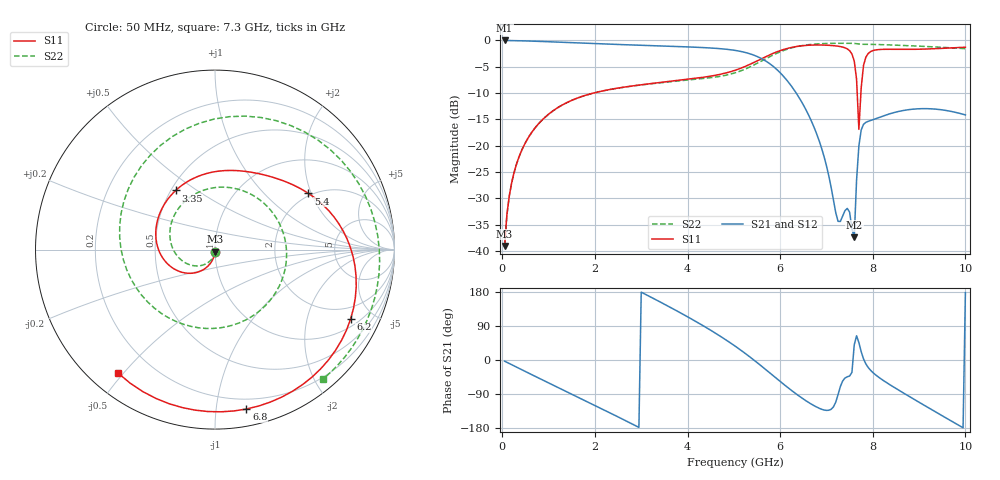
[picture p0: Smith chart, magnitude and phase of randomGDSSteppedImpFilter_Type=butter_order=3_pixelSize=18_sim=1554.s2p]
! freq	dB(S11)	phase(S11)	dB(S12)	phase(S12)
!  dB(S21)	phase(S21)	dB(S22)	phase(S22)
!S-par simulation data
#  GHz  S  DB  R 50
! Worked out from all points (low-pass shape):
!   200 points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, 50 MHz to 10 GHz, reference 50 ohm
!   highest |S21| = -0.01 dB at 50 MHz (marker M1); lowest = -37.4 dB at 7.6 GHz (marker M2)
!   |S21| within 3 dB of the highest: start of sweep to 5.491 GHz
!   lowest |S11| = -39.1 dB at 50 MHz (marker M3), VSWR 1.02, Z = 50 - j1.11 ohm
!   |S11| at or under -10 dB: start of sweep to 1.968 GHz; 7.664 GHz to 7.744 GHz (79.76 MHz wide, 1.04 % of centre)
!   |S22| runs from -39.1 to -0.5 dB; largest |S21 - S12| = 0
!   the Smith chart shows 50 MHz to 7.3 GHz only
!   S11 on the Smith chart (normalised r, x): 50 MHz: 1.00, -0.02; 3.35 GHz: 0.53, +0.41; 5.4 GHz: 1.93, +1.91; 6.2 GHz: 1.33, -3.69; 6.8 GHz: 0.12, -1.21; 7.3 GHz: 0.08, -0.48
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0.05  -39.06 -91.9  -0.01 -3.1  -0.01 -3.1  -39.09 -93.2
0.2  -27.14 -99.8  -0.03 -12.3  -0.03 -12.3  -27.16 -104.7
0.5  -19.41 -114.8  -0.09 -30.5  -0.09 -30.5  -19.43 -127.1
1.75  -10.56 -171.7  -0.53 -105.2  -0.53 -105.2  -10.56 139.8
2.6  -8.91 153.8  -0.80 -156.3  -0.80 -156.3  -8.92 72.5
3.35  -8.05 123.6  -1.02 156.9  -1.02 156.9  -8.11 9.7
3.4  -8.00 121.5  -1.04 153.7  -1.04 153.7  -8.06 5.4
4.3  -7.05 82.6  -1.34 93.1  -1.34 93.1  -7.29 -76.3
5.05  -5.60 49.0  -1.93 34.7  -1.93 34.7  -6.09 -160.9
5.4  -4.33 31.0  -2.69 3.1  -2.69 3.1  -4.81 152.1
6.2  -1.42 -27.2  -8.17 -76.0  -8.17 -76.0  -1.54 46.7
6.7  -0.88 -70.0  -15.83 -118.3  -15.83 -118.3  -0.73 -4.2
6.8  -0.86 -78.8  -18.03 -124.9  -18.03 -124.9  -0.66 -12.8
7.3  -1.17 -128.3  -34.39 -70.1  -34.39 -70.1  -0.54 -50.1
7.6  -3.91 169.4  -37.38 40.1  -37.38 40.1  -0.58 -69.5
7.7  -16.90 55.9  -20.05 46.0  -20.05 46.0  -0.68 -75.7
7.75  -9.00 -62.2  -17.01 22.0  -17.01 22.0  -0.73 -78.3
7.85  -3.19 -114.8  -15.57 -10.1  -15.57 -10.1  -0.74 -83.7
8  -1.94 -147.3  -15.07 -32.9  -15.07 -32.9  -0.75 -92.0
8.35  -1.68 169.0  -13.98 -63.7  -13.98 -63.7  -0.85 -111.4
9.1  -1.65 94.0  -12.96 -118.7  -12.96 -118.7  -1.13 -155.1
10  -1.29 21.6  -14.15 177.6  -14.15 177.6  -1.57 134.4
